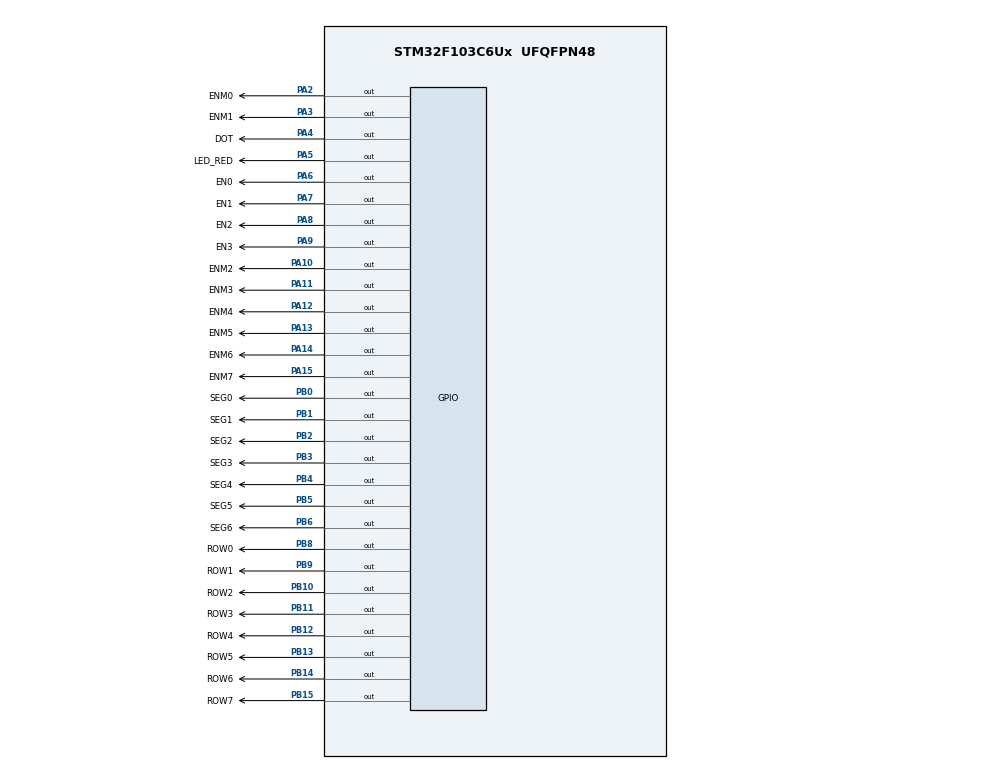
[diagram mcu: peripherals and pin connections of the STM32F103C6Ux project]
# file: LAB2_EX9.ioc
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Mcu.Family=STM32F1
Mcu.Name=STM32F103C6Ux
Mcu.Package=UFQFPN48
NVIC.PriorityGroup=NVIC_PRIORITYGROUP_4
NVIC.TIM2_IRQn=true\:0\:0\:false\:false\:true\:true\:true
PA10.GPIO_Label=ENM2
PA10.Signal=GPIO_Output
PA11.GPIO_Label=ENM3
PA11.Signal=GPIO_Output
PA12.GPIO_Label=ENM4
PA12.Signal=GPIO_Output
PA13.GPIO_Label=ENM5
PA13.Signal=GPIO_Output
PA14.GPIO_Label=ENM6
PA14.Signal=GPIO_Output
PA15.GPIO_Label=ENM7
PA15.Signal=GPIO_Output
PA2.GPIO_Label=ENM0
PA2.Signal=GPIO_Output
PA3.GPIO_Label=ENM1
PA3.Signal=GPIO_Output
PA4.GPIO_Label=DOT
PA4.Signal=GPIO_Output
PA5.GPIO_Label=LED_RED
PA5.Signal=GPIO_Output
PA6.GPIO_Label=EN0
PA6.Signal=GPIO_Output
PA7.GPIO_Label=EN1
PA7.Signal=GPIO_Output
PA8.GPIO_Label=EN2
PA8.Signal=GPIO_Output
PA9.GPIO_Label=EN3
PA9.Signal=GPIO_Output
PB0.GPIO_Label=SEG0
PB0.Signal=GPIO_Output
PB1.GPIO_Label=SEG1
PB1.Signal=GPIO_Output
PB10.GPIO_Label=ROW2
PB10.Signal=GPIO_Output
PB11.GPIO_Label=ROW3
PB11.Signal=GPIO_Output
PB12.GPIO_Label=ROW4
PB12.Signal=GPIO_Output
PB13.GPIO_Label=ROW5
PB13.Signal=GPIO_Output
PB14.GPIO_Label=ROW6
PB14.Signal=GPIO_Output
PB15.GPIO_Label=ROW7
PB15.Signal=GPIO_Output
PB2.GPIO_Label=SEG2
PB2.Signal=GPIO_Output
PB3.GPIO_Label=SEG3
PB3.Signal=GPIO_Output
PB4.GPIO_Label=SEG4
PB4.Signal=GPIO_Output
PB5.GPIO_Label=SEG5
PB5.Signal=GPIO_Output
PB6.GPIO_Label=SEG6
PB6.Signal=GPIO_Output
PB8.GPIO_Label=ROW0
PB8.Signal=GPIO_Output
PB9.GPIO_Label=ROW1
PB9.Signal=GPIO_Output
ProjectManager.HeapSize=0x200
ProjectManager.StackSize=0x400
ProjectManager.TargetToolchain=STM32CubeIDE
RCC.APB1Freq_Value=8000000
RCC.APB2Freq_Value=8000000
TIM2.Period=9
TIM2.Prescaler=7999
VP_SYS_VS_ND.Mode=No_Debug
VP_TIM2_VS_ClockSourceINT.Mode=Internal
board=custom

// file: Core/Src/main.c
/* USER CODE BEGIN Header */
/**
  ******************************************************************************
  * @file           : main.c
  * @brief          : Main program body
  ******************************************************************************
  * @attention
  *
  * <h2><center>&copy; Copyright (c) 2025 STMicroelectronics.
  * All rights reserved.</center></h2>
  *
  * This software component is licensed by ST under BSD 3-Clause license,
  * the "License"; You may not use this file except in compliance with the
  * License. You may obtain a copy of the License at:
  *                        opensource.org/licenses/BSD-3-Clause
  *
  ******************************************************************************
  */
/* USER CODE END Header */
#include "main.h"

/* USER CODE BEGIN Includes */
#include "display_led.h"
#include "software_timer.h"
/* USER CODE END Includes */

TIM_HandleTypeDef htim2;

void SystemClock_Config(void);
static void MX_GPIO_Init(void);
static void MX_TIM2_Init(void);

int main(void)
{

  /* MCU Configuration--------------------------------------------------------*/

  /* Reset of all peripherals, Initializes the Flash interface and the Systick. */
  HAL_Init();

  /* Configure the system clock */
  SystemClock_Config();

  /* Initialize all configured peripherals */
  MX_GPIO_Init();
  MX_TIM2_Init();
  /* USER CODE BEGIN 2 */
  HAL_TIM_Base_Start_IT (& htim2 ) ;
  /* USER CODE END 2 */

  /* Infinite loop */
  /* USER CODE BEGIN WHILE */

  setTimer1(50);
  setTimer2(100);
  setTimer3(100);
  setTimer4(3);
  int hour = 3 , minute = 59 , second = 57;
  int led_index = 0;
  int led_buffer[4] ;
  HAL_GPIO_WritePin(DOT_GPIO_Port, DOT_Pin, SET);

  void updateClockBuffer() {
      led_buffer[0] = hour / 10;
      led_buffer[1] = hour % 10;
      led_buffer[2] = minute / 10;
      led_buffer[3] = minute % 10;
  }

   const int MAX_LED_MATRIX = 8;
   int index_led_matrix = 0;
   uint8_t matrix_buffer [8] = {0x00, 0x00, 0x7C, 0x12, 0x12, 0x7C, 0x00, 0x00 };

   void clearALL(){
	   HAL_GPIO_WritePin(ENM0_GPIO_Port, ENM0_Pin, SET);
	   HAL_GPIO_WritePin(ENM1_GPIO_Port, ENM1_Pin, SET);
	   HAL_GPIO_WritePin(ENM2_GPIO_Port, ENM2_Pin, SET);
	   HAL_GPIO_WritePin(ENM3_GPIO_Port, ENM3_Pin, SET);
	   HAL_GPIO_WritePin(ENM4_GPIO_Port, ENM4_Pin, SET);
	   HAL_GPIO_WritePin(ENM5_GPIO_Port, ENM5_Pin, SET);
	   HAL_GPIO_WritePin(ENM6_GPIO_Port, ENM6_Pin, SET);
	   HAL_GPIO_WritePin(ENM7_GPIO_Port, ENM7_Pin, SET);
   }

   void updateLEDMatrix(int index){

    clearALL();

   	HAL_GPIO_WritePin(ROW0_GPIO_Port, ROW0_Pin, (matrix_buffer[index] & 0x01) ? RESET : SET);
   	HAL_GPIO_WritePin(ROW1_GPIO_Port, ROW1_Pin, (matrix_buffer[index] & 0x02) ? RESET : SET);
   	HAL_GPIO_WritePin(ROW2_GPIO_Port, ROW2_Pin, (matrix_buffer[index] & 0x04) ? RESET : SET);
   	HAL_GPIO_WritePin(ROW3_GPIO_Port, ROW3_Pin, (matrix_buffer[index] & 0x08) ? RESET : SET);
   	HAL_GPIO_WritePin(ROW4_GPIO_Port, ROW4_Pin, (matrix_buffer[index] & 0x10) ? RESET : SET);
   	HAL_GPIO_WritePin(ROW5_GPIO_Port, ROW5_Pin, (matrix_buffer[index] & 0x20) ? RESET : SET);
   	HAL_GPIO_WritePin(ROW6_GPIO_Port, ROW6_Pin, (matrix_buffer[index] & 0x40) ? RESET : SET);
   	HAL_GPIO_WritePin(ROW7_GPIO_Port, ROW7_Pin, (matrix_buffer[index] & 0x80) ? RESET : SET);

   	switch (index) {
   		case 0:
   			HAL_GPIO_WritePin(ENM0_GPIO_Port, ENM0_Pin, RESET);
   			break;
   		case 1:
   			HAL_GPIO_WritePin(ENM1_GPIO_Port, ENM1_Pin, RESET);
   			break;
   		case 2:
   			HAL_GPIO_WritePin(ENM2_GPIO_Port, ENM2_Pin, RESET);
   			break;
   		case 3:
   			HAL_GPIO_WritePin(ENM3_GPIO_Port, ENM3_Pin, RESET);
   			break;
   		case 4:
   			HAL_GPIO_WritePin(ENM4_GPIO_Port, ENM4_Pin, RESET);
   			break;
   		case 5:
   			HAL_GPIO_WritePin(ENM5_GPIO_Port, ENM5_Pin, RESET);
   			break;
   		case 6:
   			HAL_GPIO_WritePin(ENM6_GPIO_Port, ENM6_Pin, RESET);
   			break;
   		case 7:
   			HAL_GPIO_WritePin(ENM7_GPIO_Port, ENM7_Pin, RESET);
   			break;
   		default:
   			break;
   	}
   }

   void shiftleft(){
	   uint8_t firstcollum = matrix_buffer[0];
	   for(int i=0;i< MAX_LED_MATRIX-1;i++){
		  matrix_buffer[i]= matrix_buffer[i+1];
	   }
	   matrix_buffer[MAX_LED_MATRIX-1]= firstcollum;
   }

   updateClockBuffer();
  while (1)
  {

	  if (timer1_flag == 1 ){
	  setTimer1(50);
	  //TODO
	  update7SEG(led_index);
	  display7SEG(led_buffer[led_index]);
	  led_index = (led_index + 1) % 4;
     }

     if (timer2_flag == 1 ){
  	    setTimer2(100);
  	    //TODO
       HAL_GPIO_TogglePin(LED_RED_GPIO_Port, LED_RED_Pin);
       HAL_GPIO_TogglePin(DOT_GPIO_Port, DOT_Pin);
       shiftleft();
     }

     if (timer3_flag == 1) {
         setTimer3(100);
         second++;

           if ( second >= 60) {
             second = 0;
             minute++;
           }
           if( minute >= 60) {
             minute = 0;
             hour++;
           }
           if( hour >= 24) {
             hour = 0;
           }
         updateClockBuffer();

    }

    if (timer4_flag == 1 ){
    	  setTimer4(3);
    	  //TODO
    	  updateLEDMatrix( index_led_matrix );
    	  index_led_matrix ++;
    	  if(index_led_matrix >= MAX_LED_MATRIX){
    		  index_led_matrix = 0;
    	  }

         }

    /* USER CODE END WHILE */

  }
}

void SystemClock_Config(void)
{
  RCC_OscInitTypeDef RCC_OscInitStruct = {0};
  RCC_ClkInitTypeDef RCC_ClkInitStruct = {0};

  /** Initializes the RCC Oscillators according to the specified parameters
  * in the RCC_OscInitTypeDef structure.
  */
  RCC_OscInitStruct.OscillatorType = RCC_OSCILLATORTYPE_HSI;
  RCC_OscInitStruct.HSIState = RCC_HSI_ON;
  RCC_OscInitStruct.HSICalibrationValue = RCC_HSICALIBRATION_DEFAULT;
  RCC_OscInitStruct.PLL.PLLState = RCC_PLL_NONE;
  if (HAL_RCC_OscConfig(&RCC_OscInitStruct) != HAL_OK)
  {
    Error_Handler();
  }
  /** Initializes the CPU, AHB and APB buses clocks
  */
  RCC_ClkInitStruct.ClockType = RCC_CLOCKTYPE_HCLK|RCC_CLOCKTYPE_SYSCLK
                              |RCC_CLOCKTYPE_PCLK1|RCC_CLOCKTYPE_PCLK2;
  RCC_ClkInitStruct.SYSCLKSource = RCC_SYSCLKSOURCE_HSI;
  RCC_ClkInitStruct.AHBCLKDivider = RCC_SYSCLK_DIV1;
  RCC_ClkInitStruct.APB1CLKDivider = RCC_HCLK_DIV1;
  RCC_ClkInitStruct.APB2CLKDivider = RCC_HCLK_DIV1;

  if (HAL_RCC_ClockConfig(&RCC_ClkInitStruct, FLASH_LATENCY_0) != HAL_OK)
  {
    Error_Handler();
  }
}

static void MX_TIM2_Init(void)
{

  TIM_ClockConfigTypeDef sClockSourceConfig = {0};
  TIM_MasterConfigTypeDef sMasterConfig = {0};

  htim2.Instance = TIM2;
  htim2.Init.Prescaler = 7999;
  htim2.Init.CounterMode = TIM_COUNTERMODE_UP;
  htim2.Init.Period = 9;
  htim2.Init.ClockDivision = TIM_CLOCKDIVISION_DIV1;
  htim2.Init.AutoReloadPreload = TIM_AUTORELOAD_PRELOAD_DISABLE;
  if (HAL_TIM_Base_Init(&htim2) != HAL_OK)
  {
    Error_Handler();
  }
  sClockSourceConfig.ClockSource = TIM_CLOCKSOURCE_INTERNAL;
  if (HAL_TIM_ConfigClockSource(&htim2, &sClockSourceConfig) != HAL_OK)
  {
    Error_Handler();
  }
  sMasterConfig.MasterOutputTrigger = TIM_TRGO_RESET;
  sMasterConfig.MasterSlaveMode = TIM_MASTERSLAVEMODE_DISABLE;
  if (HAL_TIMEx_MasterConfigSynchronization(&htim2, &sMasterConfig) != HAL_OK)
  {
    Error_Handler();
  }

}

static void MX_GPIO_Init(void)
{
  GPIO_InitTypeDef GPIO_InitStruct = {0};

  /* GPIO Ports Clock Enable */
  __HAL_RCC_GPIOA_CLK_ENABLE();
  __HAL_RCC_GPIOB_CLK_ENABLE();

  /*Configure GPIO pin Output Level */
  HAL_GPIO_WritePin(GPIOA, ENM0_Pin|ENM1_Pin|DOT_Pin|LED_RED_Pin
                          |EN0_Pin|EN1_Pin|EN2_Pin|EN3_Pin
                          |ENM2_Pin|ENM3_Pin|ENM4_Pin|ENM5_Pin
                          |ENM6_Pin|ENM7_Pin, GPIO_PIN_RESET);

  /*Configure GPIO pin Output Level */
  HAL_GPIO_WritePin(GPIOB, SEG0_Pin|SEG1_Pin|SEG2_Pin|ROW2_Pin
                          |ROW3_Pin|ROW4_Pin|ROW5_Pin|ROW6_Pin
                          |ROW7_Pin|SEG3_Pin|SEG4_Pin|SEG5_Pin
                          |SEG6_Pin|ROW0_Pin|ROW1_Pin, GPIO_PIN_RESET);

  /*Configure GPIO pins : ENM0_Pin ENM1_Pin DOT_Pin LED_RED_Pin
                           EN0_Pin EN1_Pin EN2_Pin EN3_Pin
                           ENM2_Pin ENM3_Pin ENM4_Pin ENM5_Pin
                           ENM6_Pin ENM7_Pin */
  GPIO_InitStruct.Pin = ENM0_Pin|ENM1_Pin|DOT_Pin|LED_RED_Pin
                          |EN0_Pin|EN1_Pin|EN2_Pin|EN3_Pin
                          |ENM2_Pin|ENM3_Pin|ENM4_Pin|ENM5_Pin
                          |ENM6_Pin|ENM7_Pin;
  GPIO_InitStruct.Mode = GPIO_MODE_OUTPUT_PP;
  GPIO_InitStruct.Pull = GPIO_NOPULL;
  GPIO_InitStruct.Speed = GPIO_SPEED_FREQ_LOW;
  HAL_GPIO_Init(GPIOA, &GPIO_InitStruct);

  /*Configure GPIO pins : SEG0_Pin SEG1_Pin SEG2_Pin ROW2_Pin
                           ROW3_Pin ROW4_Pin ROW5_Pin ROW6_Pin
                           ROW7_Pin SEG3_Pin SEG4_Pin SEG5_Pin
                           SEG6_Pin ROW0_Pin ROW1_Pin */
  GPIO_InitStruct.Pin = SEG0_Pin|SEG1_Pin|SEG2_Pin|ROW2_Pin
                          |ROW3_Pin|ROW4_Pin|ROW5_Pin|ROW6_Pin
                          |ROW7_Pin|SEG3_Pin|SEG4_Pin|SEG5_Pin
                          |SEG6_Pin|ROW0_Pin|ROW1_Pin;
  GPIO_InitStruct.Mode = GPIO_MODE_OUTPUT_PP;
  GPIO_InitStruct.Pull = GPIO_NOPULL;
  GPIO_InitStruct.Speed = GPIO_SPEED_FREQ_LOW;
  HAL_GPIO_Init(GPIOB, &GPIO_InitStruct);

}

/* USER CODE BEGIN 4 */
void HAL_TIM_PeriodElapsedCallback(TIM_HandleTypeDef *htim){
   timerRun();
}
/* USER CODE END 4 */

void Error_Handler(void)
{
  __disable_irq();
  while (1)
  {
  }
}

/************************ (C) COPYRIGHT STMicroelectronics *****END OF FILE****/
